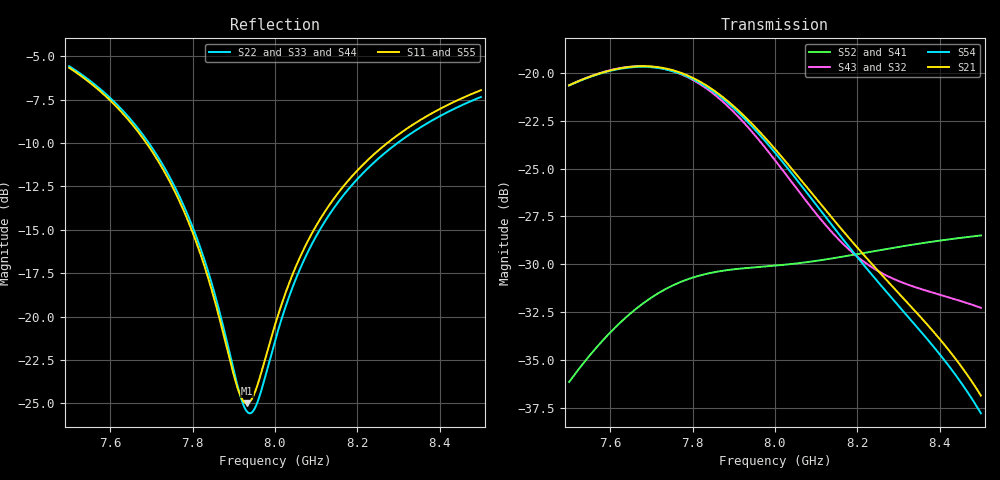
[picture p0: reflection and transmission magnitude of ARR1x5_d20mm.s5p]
! Touchstone file exported from HFSS 2025.1.0
!  File:  C:/Users/user/Documents/Ansoft/TFG_UWB-MIMO-Array.aedt
!  Generated:  06:37:37 PM Nov 20, 2026
!  Design:  ARR1x5_P01_MS2_dparam
!  Project:  TFG_UWB-MIMO-Array
!  Setup:  Setup_ch9
!  Solution:  Sweep_7p5_8p5
! Variables:
!  arr_d = 20mm
!  board_m = 13mm
!  board_x = 106mm
!  board_y = 26mm
!  cu_t = 0.035mm
!  line_w = 3.92mm
!  pad_xy = 22mm
!  pad_zn = 25mm
!  pad_zp = 33mm
!  patch_L = 7.322mm
!  patch_W = 11.421266mm
!  sub_h = 2.07mm
!  tr_l = 7.1mm
!  tr_w = 0.8mm
# GHz S MA R 50.000000
! Terminal data exported
! Port[1] = P1
! Port[2] = P2
! Port[3] = P3
! Port[4] = P4
! Port[5] = P5
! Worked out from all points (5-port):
!   1001 points, 7.5 GHz to 8.5 GHz, reference 50 ohm
!   strongest paths, dB at 7.5 GHz, 7.75 GHz, 8 GHz, 8.25 GHz, 8.5 GHz:
!     S21: -20.6, -19.8, -24.0, -30.3, -36.9
!     S54: -20.6, -19.9, -24.2, -30.9, -37.8
!     S43: -20.6, -19.9, -24.6, -30.4, -32.3
!     S32: -20.7, -20.0, -24.8, -30.7, -32.6
!     S52: -36.2, -31.1, -30.1, -29.3, -28.5
!     S41: -36.3, -31.2, -30.2, -29.4, -28.6
!   lowest |S11| = -25.0 dB at 7.932 GHz (marker M1), VSWR 1.12, Z = 55.7 + j1.67 ohm
!   |S11| at or under -10 dB: 7.688 GHz to 8.272 GHz (584.7 MHz wide, 7.33 % of centre)
